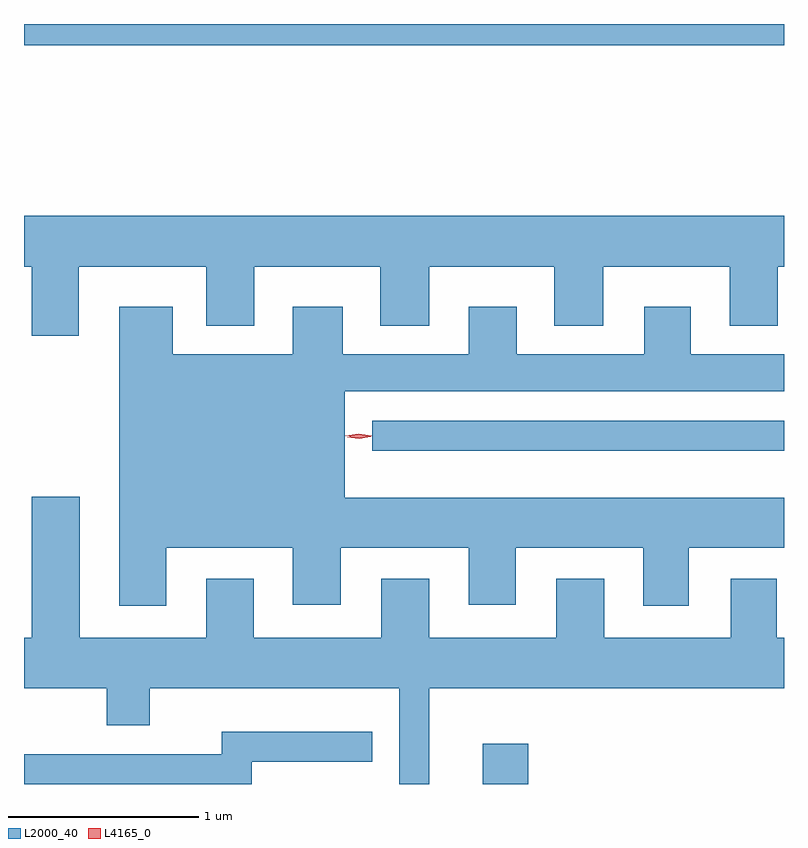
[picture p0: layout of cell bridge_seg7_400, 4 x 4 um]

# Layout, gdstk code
import gdstk
lib = gdstk.Library(unit=1e-6, precision=1e-09)
def R(c, l, rs):  # rectangles x0, y0, x1, y1
    for r in rs: c.add(gdstk.rectangle(r[:2], r[2:], *l))
def P(c, l, *ps):  # polygons
    for p in ps: c.add(gdstk.Polygon(p, *l))
L2000_40 = (2000, 40)
L4165_0 = (4165, 0)

bridge_seg7_400 = lib.new_cell('bridge_seg7_400')
R(bridge_seg7_400, L2000_40, [(1065.886,1709.373,1066.124,1709.584), (1065.303,1711.126,1067.471,1711.284), (1063.471,1713.261,1067.471,1713.373)])
P(bridge_seg7_400, L2000_40, [(1063.471,1712.096),(1063.511,1712.096),(1063.511,1711.731),(1063.759,1711.731),(1063.759,1712.096),(1064.431,1712.096),(1064.431,1711.786),(1064.684,1711.786),(1064.684,1712.096),(1065.346,1712.096),(1065.346,1711.786),(1065.604,1711.786),(1065.604,1712.096),(1066.261,1712.096),(1066.261,1711.786),(1066.519,1711.786),(1066.519,1712.096),(1067.186,1712.096),(1067.186,1711.786),(1067.439,1711.786),(1067.439,1712.096),(1067.471,1712.096),(1067.471,1712.364),(1063.471,1712.364)],
  [(1064.219,1710.616),(1064.886,1710.616),(1064.886,1710.316),(1065.139,1710.316),(1065.139,1710.616),(1065.811,1710.616),(1065.811,1710.316),(1066.059,1710.316),(1066.059,1710.616),(1066.731,1710.616),(1066.731,1710.311),(1066.969,1710.311),(1066.969,1710.616),(1067.471,1710.616),(1067.471,1710.879),(1065.159,1710.879),(1065.159,1711.441),(1067.471,1711.441),(1067.471,1711.634),(1066.979,1711.634),(1066.979,1711.884),(1066.736,1711.884),(1066.736,1711.634),(1066.064,1711.634),(1066.064,1711.884),(1065.811,1711.884),(1065.811,1711.634),(1065.149,1711.634),(1065.149,1711.884),(1064.886,1711.884),(1064.886,1711.634),(1064.254,1711.634),(1064.254,1711.884),(1063.971,1711.884),(1063.971,1710.311),(1064.219,1710.311)],
  [(1065.604,1709.876),(1067.471,1709.876),(1067.471,1710.144),(1067.434,1710.144),(1067.434,1710.454),(1067.191,1710.454),(1067.191,1710.144),(1066.524,1710.144),(1066.524,1710.454),(1066.271,1710.454),(1066.271,1710.144),(1065.604,1710.144),(1065.604,1710.454),(1065.351,1710.454),(1065.351,1710.144),(1064.679,1710.144),(1064.679,1710.454),(1064.431,1710.454),(1064.431,1710.144),(1063.764,1710.144),(1063.764,1710.884),(1063.511,1710.884),(1063.511,1710.144),(1063.471,1710.144),(1063.471,1709.876),(1063.906,1709.876),(1063.906,1709.681),(1064.134,1709.681),(1064.134,1709.876),(1065.446,1709.876),(1065.446,1709.373),(1065.604,1709.373)],
  [(1064.669,1709.491),(1065.303,1709.491),(1065.303,1709.649),(1064.511,1709.649),(1064.511,1709.529),(1063.471,1709.529),(1063.471,1709.373),(1064.669,1709.373)])
P(bridge_seg7_400, L4165_0, [(1065.232,1711.197),(1065.163,1711.206),(1065.162,1711.207),(1065.163,1711.207),(1065.232,1711.217),(1065.3,1711.207),(1065.3,1711.207),(1065.3,1711.206)],
  [(1065.235,1711.19),(1065.173,1711.198),(1065.172,1711.199),(1065.173,1711.199),(1065.234,1711.21),(1065.296,1711.202),(1065.297,1711.201),(1065.296,1711.201)])

lib.write_gds('bridge_seg7_400.gds')
